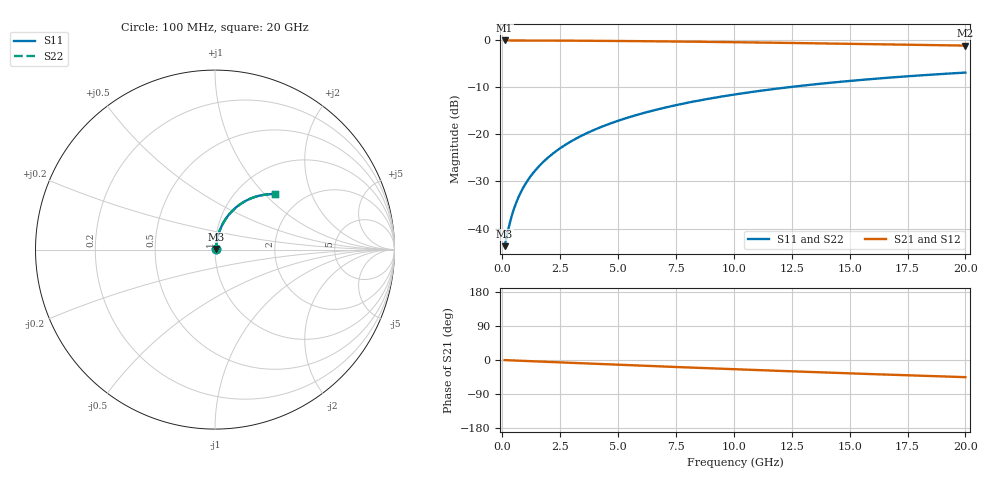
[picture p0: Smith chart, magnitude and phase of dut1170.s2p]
! Touchstone file exported from HFSS 2026.1.0
!  File:  C:/ffzhzh/LocalFiles/Ansys_Project_Files/temp_train_TMRDL_1170_1783162460_43440.aedt
!  Generated:  06:55:39 PM Jul  4, 2026
!  Design:  TMRDL
!  Project:  temp_train_TMRDL_1170_1783162460_43440
! Variables:
!  h_bsmrdl = 2um
!  h_ox = 20um
!  h_rdl = 5um
!  h_sub = 80um
!  h_tmrdl = 2.89um
!  h_tsv = 80um
!  h_via = 3um
!  l_bsmrdl = 300um
!  l_sub = 1046.85um
!  l_tmrdl = 646.85um
!  m_sub = 200um
!  pitch = 39.06um
!  r_tsv = 6um
!  s_tmrdl = 10um
!  w_bsmrdl = 18um
!  w_sub = 500um
!  w_tmrdl = 14.01um
!  x_tsv_center1 = 653.855um
!  x_tsv_center2 = 971.855um
!  x_tsv_center3 = 1632.715um
!  x_tsv_center4 = 1950.715um
!  x_tsv_center5 = 2611.575um
!  x_tsv_center6 = 2929.575um
# GHz S MA R 50.000000
! Terminal data exported
! Port[1] = TM_RDL1_1_T1
! Port[2] = TM_RDL1_1_T2
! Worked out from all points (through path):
!   200 points, 100 MHz to 20 GHz, reference 50 ohm
!   highest |S21| = -0.05 dB at 100 MHz (marker M1); lowest = -1.1 dB at 20 GHz (marker M2)
!   group delay of S21, straight-line fit = 6.3 ps
!   lowest |S11| = -43.8 dB at 100 MHz (marker M3), VSWR 1.01, Z = 50.6 + j0.305 ohm
!   |S11| at or under -10 dB: start of sweep to 12.34 GHz
!   |S22| runs from -43.8 to -6.9 dB; largest |S21 - S12| = 3.5e-15
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0.1  0.006494 27.7  0.9943 -0.3  0.9943 -0.3  0.006494 27.7
! Gamma 0 0 0 0
! Port Impedance 50 0 50 0
0.3  0.01081 55.9  0.994 -0.8  0.994 -0.8  0.01081 55.9
0.4  0.01342 62.0  0.9938 -1.0  0.9938 -1.0  0.01342 62.0
0.5  0.0161 66.0  0.9937 -1.3  0.9937 -1.3  0.0161 66.0
0.6  0.01881 68.7  0.9935 -1.5  0.9935 -1.5  0.01881 68.7
0.7  0.02154 70.8  0.9933 -1.8  0.9933 -1.8  0.02154 70.8
0.9  0.02701 73.5  0.993 -2.3  0.993 -2.3  0.02701 73.5
1.2  0.03526 75.8  0.9926 -3.0  0.9926 -3.0  0.03526 75.7
1.4  0.04078 76.6  0.9923 -3.5  0.9923 -3.5  0.04078 76.6
1.7  0.04908 77.4  0.9918 -4.3  0.9918 -4.3  0.04909 77.4
2.2  0.06295 77.8  0.9908 -5.5  0.9908 -5.5  0.06295 77.8
2.8  0.07956 77.6  0.9894 -7.0  0.9894 -7.0  0.07957 77.6
3.5  0.09884 76.7  0.9874 -8.8  0.9874 -8.8  0.09884 76.7
4.2  0.1179 75.6  0.985 -10.5  0.985 -10.5  0.1179 75.6
5  0.1395 74.1  0.9818 -12.5  0.9818 -12.5  0.1395 74.1
5.9  0.1633 72.2  0.9777 -14.6  0.9777 -14.6  0.1633 72.2
6.8  0.1866 70.3  0.973 -16.8  0.973 -16.8  0.1866 70.3
8.3  0.2241 67.0  0.9643 -20.3  0.9643 -20.3  0.2241 67.0
10.1  0.2668 63.1  0.9525 -24.5  0.9525 -24.5  0.2668 63.0
13.4  0.3382 56.0  0.9283 -31.8  0.9283 -31.8  0.3382 56.0
16.7  0.4003 49.3  0.9025 -38.7  0.9025 -38.7  0.4003 49.2
20  0.4533 43.0  0.8768 -45.3  0.8768 -45.3  0.4533 42.8
